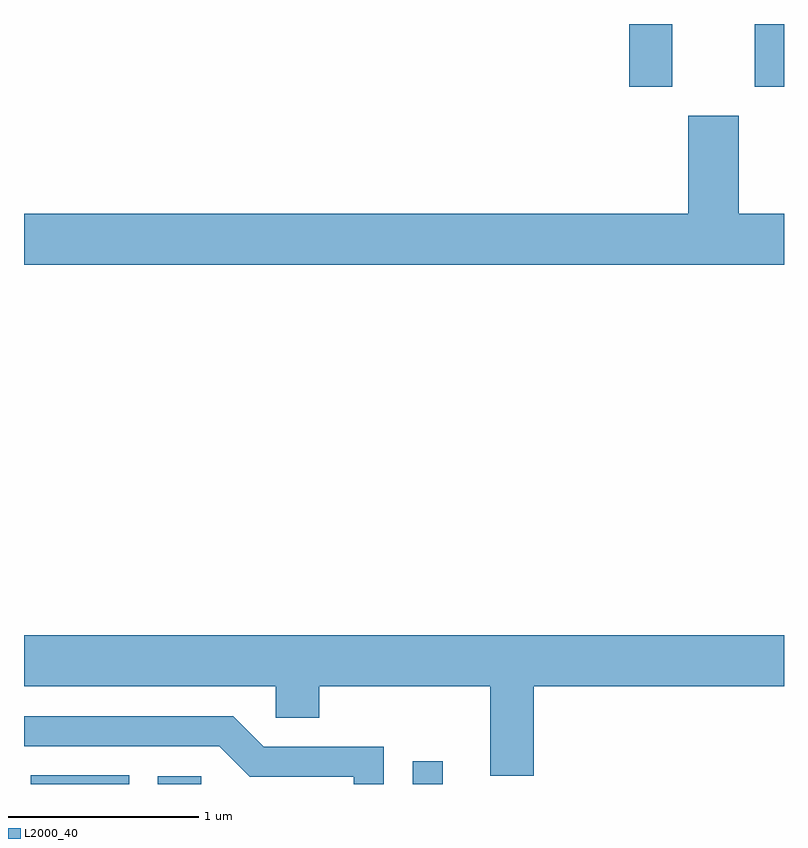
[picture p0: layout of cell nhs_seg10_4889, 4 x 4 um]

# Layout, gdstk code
import gdstk
lib = gdstk.Library(unit=1e-6, precision=1e-09)
def R(c, l, rs):  # rectangles x0, y0, x1, y1
    for r in rs: c.add(gdstk.rectangle(r[:2], r[2:], *l))
def P(c, l, *ps):  # polygons
    for p in ps: c.add(gdstk.Polygon(p, *l))
L2000_40 = (2000, 40)

nhs_seg10_4889 = lib.new_cell('nhs_seg10_4889')
R(nhs_seg10_4889, L2000_40, [(329.646,2104.522,330.164,2104.569), (330.316,2104.522,330.544,2104.564), (331.656,2104.522,331.814,2104.643), (332.796,2108.191,333.024,2108.522), (333.456,2108.191,333.611,2108.522)])
P(nhs_seg10_4889, L2000_40, [(333.611,2107.524),(333.374,2107.524),(333.374,2108.039),(333.106,2108.039),(333.106,2107.524),(329.611,2107.524),(329.611,2107.256),(333.611,2107.256)],
  [(332.294,2105.036),(333.611,2105.036),(333.611,2105.304),(329.611,2105.304),(329.611,2105.036),(330.936,2105.036),(330.936,2104.871),(331.164,2104.871),(331.164,2105.036),(332.066,2105.036),(332.066,2104.566),(332.294,2104.566)],
  [(331.504,2104.719),(330.872,2104.719),(330.712,2104.879),(329.611,2104.879),(329.611,2104.721),(330.639,2104.721),(330.799,2104.561),(331.346,2104.561),(331.346,2104.522),(331.504,2104.522)])

lib.write_gds('nhs_seg10_4889.gds')
